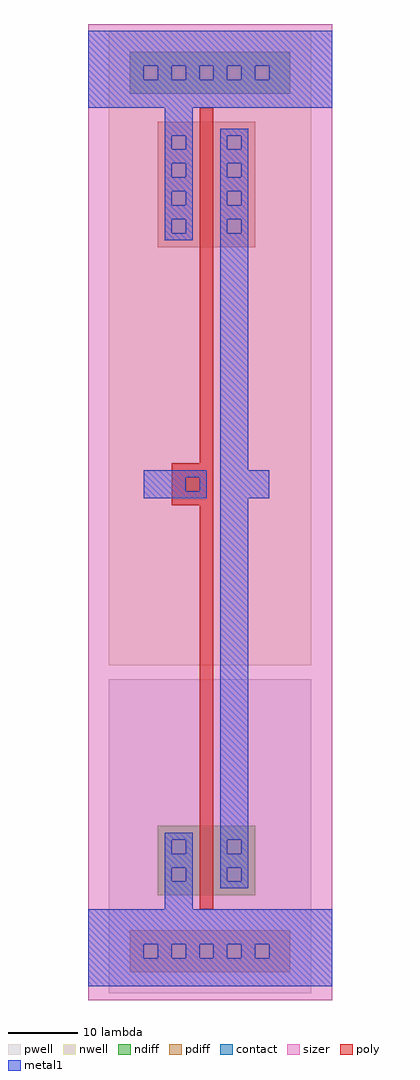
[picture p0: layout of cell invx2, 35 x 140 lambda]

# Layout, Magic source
magic
tech concept
<< sizer >>
rect 0 0 35 140
<< metal1 >>
rect 0 134 35 139
rect 0 132 8 134
rect 10 132 12 134
rect 14 132 16 134
rect 18 132 20 134
rect 22 132 24 134
rect 26 132 35 134
rect 0 128 35 132
rect 11 124 15 128
rect 19 124 23 125
rect 11 122 12 124
rect 14 122 15 124
rect 19 122 20 124
rect 22 122 23 124
rect 11 120 15 122
rect 19 120 23 122
rect 11 118 12 120
rect 14 118 15 120
rect 19 118 20 120
rect 22 118 23 120
rect 11 116 15 118
rect 19 116 23 118
rect 11 114 12 116
rect 14 114 15 116
rect 19 114 20 116
rect 22 114 23 116
rect 11 112 15 114
rect 19 112 23 114
rect 11 110 12 112
rect 14 110 15 112
rect 19 110 20 112
rect 22 110 23 112
rect 11 109 15 110
rect 19 76 23 110
rect 8 75 17 76
rect 19 72 26 76
rect 8 73 14 75
rect 16 73 17 75
rect 8 72 17 73
rect 19 23 23 72
rect 11 23 15 24
rect 11 21 12 23
rect 14 21 15 23
rect 19 21 20 23
rect 22 21 23 23
rect 11 19 15 21
rect 19 19 23 21
rect 11 17 12 19
rect 14 17 15 19
rect 19 17 20 19
rect 22 17 23 19
rect 11 13 15 17
rect 19 16 23 17
rect 0 8 35 13
rect 0 6 8 8
rect 10 6 12 8
rect 14 6 16 8
rect 18 6 20 8
rect 22 6 24 8
rect 26 6 35 8
rect 0 2 35 6
<< contact >>
rect 8 132 10 134
rect 12 132 14 134
rect 16 132 18 134
rect 20 132 22 134
rect 24 132 26 134
rect 12 122 14 124
rect 20 122 22 124
rect 12 118 14 120
rect 20 118 22 120
rect 12 114 14 116
rect 20 114 22 116
rect 12 110 14 112
rect 20 110 22 112
rect 14 73 16 75
rect 12 21 14 23
rect 20 21 22 23
rect 12 17 14 19
rect 20 17 22 19
rect 8 6 10 8
rect 12 6 14 8
rect 16 6 18 8
rect 20 6 22 8
rect 24 6 26 8
<< poly >>
rect 16 77 18 128
rect 12 71 18 77
rect 16 13 18 71
<< ndiff >>
rect 6 130 29 136
rect 10 15 24 25
<< pdiff >>
rect 10 108 24 126
rect 6 4 29 10
<< nwell >>
rect 3 48 32 139
<< pwell >>
rect 3 1 32 46
<< end >>
